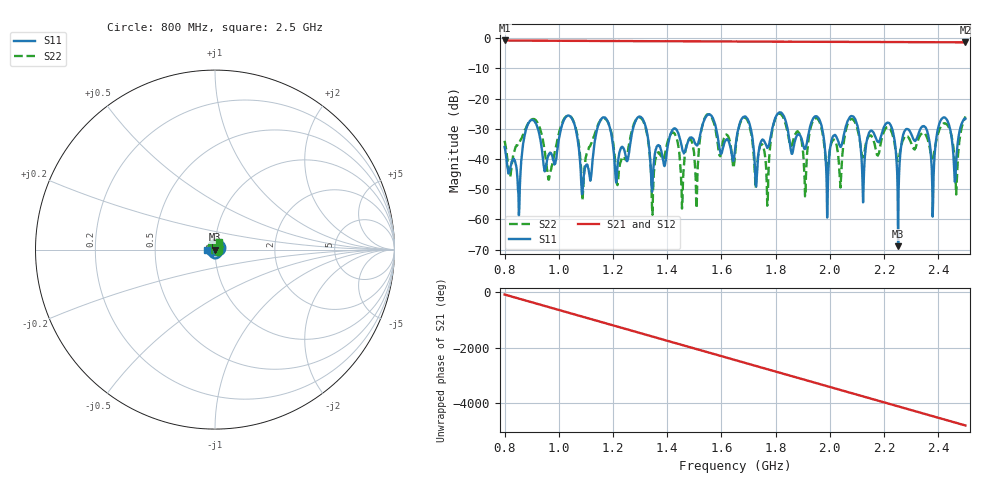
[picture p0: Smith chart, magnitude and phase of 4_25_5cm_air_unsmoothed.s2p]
!Keysight Technologies N9950B: A.12.38
!Date: Tuesday, 25 April 2023 11:47:37
!Timezone: (UTC-06:00) Central Time (US & Canada)
!Model: N9950B
!Serial: MY61131330
!GPS Latitude:
!GPS Longitude:
!GPS TimeStamp: 0001-01-01 00:00:00Z
!GPS Seconds Since Last Read: 0
!CHECKSUM:1684009695
!Correction: S11(Rdy)S21(Rdy)S12(Rdy)S22(Rdy)
!S2P File: Measurements:S11,S21,S12,S22:
# Hz S DB R 50
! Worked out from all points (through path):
!   1001 points, 800 MHz to 2.5 GHz, reference 50 ohm
!   highest |S21| = -0.77 dB at 801.7 MHz (marker M1); lowest = -1.4 dB at 2.5 GHz (marker M2)
!   group delay of S21, straight-line fit = 7.76 ns
!   lowest |S11| = -68.8 dB at 2.252 GHz (marker M3), VSWR 1.00, Z = 50 + j0.0036 ohm
!   |S11| at or under -10 dB: start of sweep to end of sweep
!   |S22| runs from -58.5 to -25.0 dB; largest |S21 - S12| = 0.0055
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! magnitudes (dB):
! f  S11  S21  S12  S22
! 800 MHz  -36.0  -0.8  -0.8  -34.0
! 801.7 MHz  -36.7  -0.8  -0.8  -34.8
! 852.7 MHz  -58.7  -0.8  -0.8  -34.6
! 910.5 MHz  -27.5  -0.8  -0.9  -26.9
! 964.9 MHz  -38.4  -0.8  -0.9  -46.1
! 1.038 GHz  -25.6  -0.9  -0.9  -25.7
! 1.084 GHz  -49.3  -0.9  -0.9  -46.4
! 1.164 GHz  -26.2  -0.9  -1.0  -26.5
! 1.216 GHz  -42.4  -1.0  -1.0  -48.6
! 1.293 GHz  -26.1  -1.0  -1.0  -26.3
! 1.368 GHz  -35.4  -1.0  -1.0  -37.9
! 1.65 GHz  -37.1  -1.1  -1.1  -38.7
! 1.769 GHz  -36.3  -1.1  -1.2  -55.5
! 1.817 GHz  -24.6  -1.2  -1.2  -25.0
! 1.908 GHz  -36.7  -1.2  -1.2  -52.4
! 1.934 GHz  -27.4  -1.2  -1.2  -28.2
! 1.992 GHz  -53.2  -1.2  -1.2  -43.7
! 2.218 GHz  -28.1  -1.3  -1.3  -29.7
! 2.252 GHz  -68.8  -1.3  -1.3  -40.7
! 2.42 GHz  -26.2  -1.3  -1.4  -28.3
! 2.466 GHz  -41.2  -1.3  -1.3  -51.7
! 2.5 GHz  -26.7  -1.4  -1.4  -25.9
